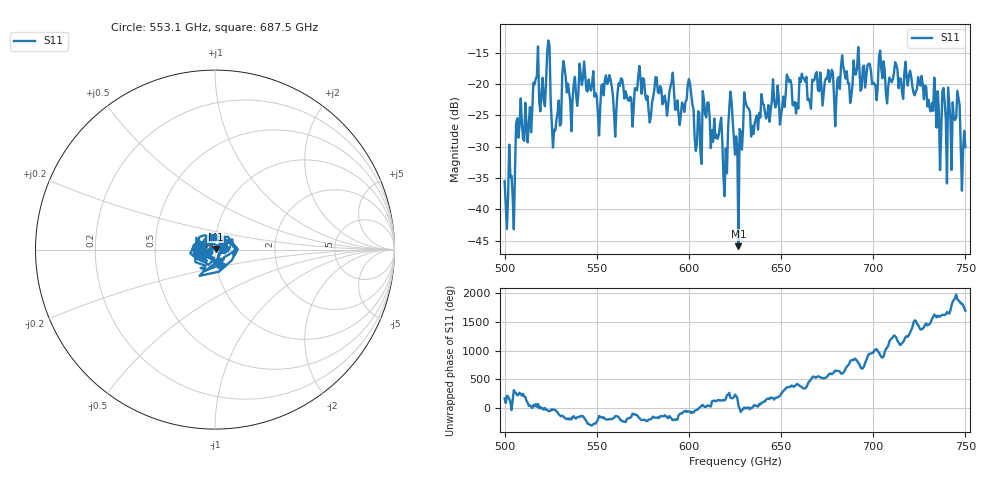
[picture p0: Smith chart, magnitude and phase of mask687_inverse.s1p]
!Created with skrf (http://scikit-rf.org).
# GHz S MA R 50.0
!freq magS11 angS11
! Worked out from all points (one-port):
!   401 points, 500 GHz to 750 GHz, reference 50 ohm
!   lowest |S11| = -45.9 dB at 626.9 GHz (marker M1), VSWR 1.01, Z = 50.4 + j0.36 ohm
!   |S11| at or under -10 dB: start of sweep to end of sweep
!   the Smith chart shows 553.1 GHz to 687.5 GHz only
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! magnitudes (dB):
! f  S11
! 500 GHz  -35.5
! 504.4 GHz  -37.9
! 507.5 GHz  -28.5
! 513.8 GHz  -23.7
! 516.9 GHz  -19.2
! 520.6 GHz  -19.0
! 523.8 GHz  -13.0
! 526.9 GHz  -27.3
! 531.2 GHz  -18.6
! 556.2 GHz  -19.6
! 560 GHz  -28.4
! 562.5 GHz  -20.3
! 593.8 GHz  -22.6
! 600.6 GHz  -20.0
! 605.6 GHz  -24.6
! 608.8 GHz  -24.8
! 619.4 GHz  -37.9
! 622.5 GHz  -21.2
! 625 GHz  -31.2
! 626.9 GHz  -45.9
! 631.2 GHz  -23.4
! 635 GHz  -28.0
! 656.2 GHz  -23.4
! 687.5 GHz  -23.0
! 718.8 GHz  -20.2
! 735.6 GHz  -24.3
! 745.6 GHz  -21.1
! 750 GHz  -30.0
